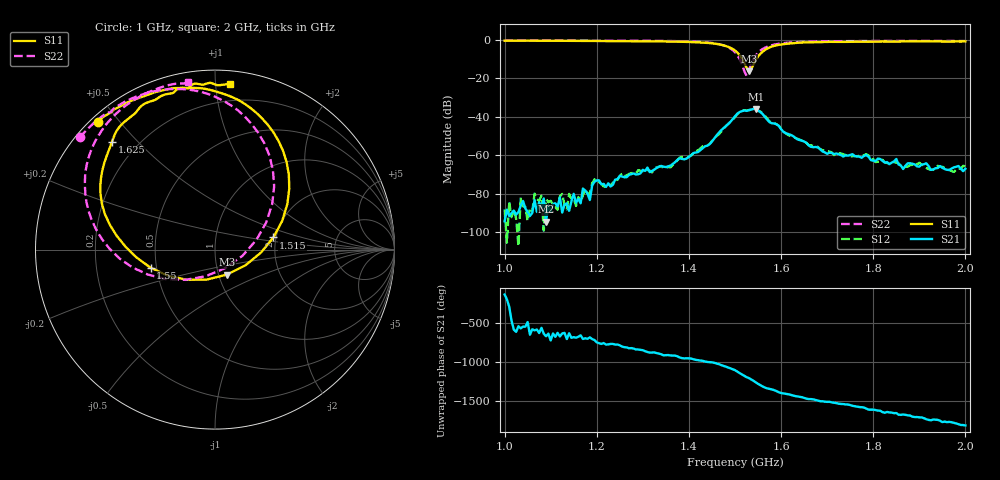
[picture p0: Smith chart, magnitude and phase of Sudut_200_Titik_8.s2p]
# Hz S RI R 50
! CMT, C1220, 16058040, 17.2.0/1
! Date: 14/08/2018 12:07:12
! Data: Format (Calibration Info)
! Freq  S11: Re/Im (F2)  S21: Re/Im (F2)  S12: Re/Im (F2)  S22: Re/Im (F2)
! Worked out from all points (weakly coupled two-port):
!   201 points, 1 GHz to 2 GHz, reference 50 ohm
!   highest |S21| = -35.85 dB at 1.545 GHz (marker M1); lowest = -94.5 dB at 1.09 GHz (marker M2)
!   lowest |S11| = -16.2 dB at 1.53 GHz (marker M3), VSWR 1.37, Z = 54.8 - j15.6 ohm
!   |S11| at or under -10 dB: 1.516 GHz to 1.546 GHz (30.16 MHz wide, 1.97 % of centre)
!   |S22| runs from -18.6 to -0.2 dB; largest |S21 - S12| = 0.00076
!   S11 on the Smith chart (normalised r, x): 1 GHz: 0.02, +0.44; 1.515 GHz: 1.94, +0.29; 1.55 GHz: 0.46, -0.11; 1.625 GHz: 0.11, +0.42; 2 GHz: 0.09, +1.09
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1e9  -0.6542 0.7097  -1.5e-05 -1.17e-05  -2.19e-05 3.23e-05  -0.7536 0.6256
1.09e9  -0.5693 0.7743  1.3e-05 1.36e-05  2.86e-05 6.54e-05  -0.6882 0.6928
1.17e9  -0.4863 0.8214  0.000133 2.77e-05  9.23e-05 -4.33e-06  -0.6164 0.7514
1.185e9  -0.4627 0.8304  5.78e-05 3.6e-05  0.000101 1.28e-05  -0.599 0.7607
1.195e9  -0.4498 0.8349  0.000203 -5.6e-06  0.000235 2.56e-05  -0.5868 0.7646
1.22e9  -0.425 0.8451  7.41e-05 -0.00013  0.000119 -8.89e-05  -0.5714 0.7785
1.255e9  -0.3625 0.8666  2.1e-05 -0.00028  5.77e-05 -0.00033  -0.5287 0.8087
1.335e9  -0.2298 0.8995  -0.000499 -4.95e-05  -0.000499 -1.1e-05  -0.3998 0.866
1.36e9  -0.1589 0.9004  -0.00051 0.000172  -0.000452 0.000174  -0.344 0.8812
1.45e9  0.1715 0.8081  0.000632 0.00219  0.000802 0.00222  0.0241 0.8406
1.5e9  0.4138 0.3403  0.00931 -0.00454  0.00878 -0.00426  0.3295 0.3529
1.515e9  0.3254 0.0676  0.00252 -0.0138  0.00296 -0.0138  0.2307 0.0542
1.525e9  0.1691 -0.088  -0.00592 -0.0131  -0.00583 -0.0133  0.0572 -0.1032
1.53e9  0.0669 -0.1392  -0.00886 -0.0119  -0.00896 -0.0121  -0.0521 -0.1486
1.545e9  -0.2644 -0.1449  -0.0161 0.000293  -0.016 -9.41e-06  -0.3762 -0.1383
1.55e9  -0.3592 -0.1008  -0.0138 0.00502  -0.014 0.00457  -0.4612 -0.0986
1.58e9  -0.6307 0.2573  8.43e-05 0.00682  0.000398 0.00707  -0.7048 0.2162
1.625e9  -0.5741 0.599  0.00315 0.000687  0.003 0.000728  -0.7016 0.5213
1.67e9  -0.4618 0.7455  0.00128 -0.000998  0.0014 -0.00107  -0.6247 0.6729
1.835e9  -0.1605 0.8987  -0.000536 0.000235  -0.000577 0.000179  -0.3756 0.8746
1.975e9  0.0464 0.9188  0.000445 0.000195  0.000338 0.000145  -0.1784 0.9245
2e9  0.0858 0.9208  0.000438 -8.04e-05  0.000507 -8.55e-05  -0.1509 0.9334
